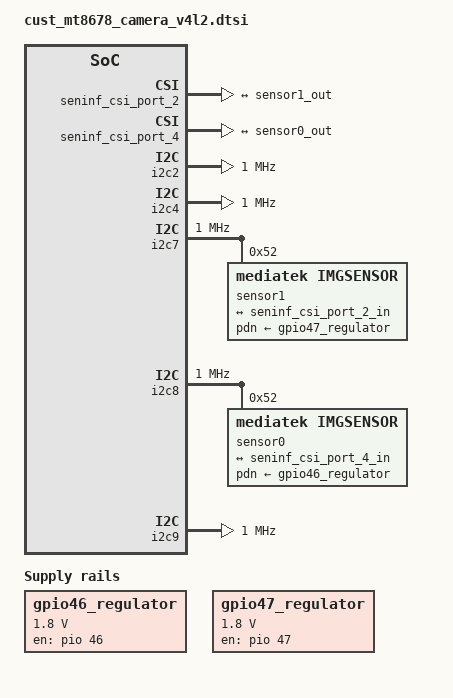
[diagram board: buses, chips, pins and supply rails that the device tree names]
// SPDX-License-Identifier: GPL-2.0
/* Copyright (c) 2023 MediaTek Inc. */
#include <dt-bindings/clock/mt6991-clk.h>

&seninf_top {
		seninf_csi_port_2: seninf-csi-port-2 {
			compatible = "mediatek,seninf";
			csi-port = "2";

			// nvmem-cells = <&csi_efuse2>;
			nvmem-cell-names = "rg_csi";

			port {
				seninf_csi_port_2_in: endpoint {
					remote-endpoint = <&sensor1_out>;
				};
			};
		};
		seninf_csi_port_4: seninf-csi-port-4 {
			compatible = "mediatek,seninf";
			csi-port = "4";

			// nvmem-cells = <&csi_efuse4>;
			nvmem-cell-names = "rg_csi";

			port {
				seninf_csi_port_4_in: endpoint {
					remote-endpoint = <&sensor0_out>;
				};
			};
		};
};

/* CAMERA GPIO fixed to regulator */
&odm {
	gpio46_regulator: gpio-46 {
		compatible = "regulator-fixed";
		regulator-name = "gpio46_regulator";
		regulator-min-microvolt = <1800000>;
		regulator-max-microvolt = <1800000>;
		gpio = <&pio 46 0x0>;
		enable-active-high;
		status = "okay";
	};
	gpio47_regulator: gpio-47 {
		compatible = "regulator-fixed";
		regulator-name = "gpio47_regulator";
		regulator-min-microvolt = <1800000>;
		regulator-max-microvolt = <1800000>;
		gpio = <&pio 47 0x0>;
		enable-active-high;
		status = "okay";
	};
};

/* CAMERA GPIO standardization */
&pio {
	camera_pins_default: camdefault {
	};
};
/* CAMERA GPIO end */


&i2c2 {
	status = "okay";
	clock-frequency = <1000000>;
};

&i2c4 {
	status = "okay";
	clock-frequency = <1000000>;
};

&i2c7 {
	status = "okay";
	clock-frequency = <1000000>;

	sensor1: sensor1@52 {
		compatible = "mediatek,imgsensor";
		sensor-names = "max96712_mipi_yuv";
		reg = <0x52>;

		#thermal-sensor-cells = <0>;
		pdn-supply = <&gpio47_regulator>;

		clocks = <&vlp_cksys_clk CLK_CK_UNIVPLL_192M_D32>,
			<&vlp_cksys_clk CLK_CK_UNIVPLL_192M_D16>,
			<&vlp_cksys_clk CLK_CK_F26M_CK_D2>,
			<&vlp_cksys_clk CLK_CK_UNIVPLL_192M_D10>,
			<&vlp_cksys_clk CLK_CK_UNIVPLL_192M_D8>,
			<&vlp_cksys_clk CLK_CK_UNIVPLL_D6_D16>,
			<&vlp_cksys_clk CLK_CK_UNIVPLL_D6_D8>,
			<&vlp_cksys_clk CLK_VLP_CK_CAMTG0_SEL>;
		clock-names = "6", "12", "13", "19.2", "24", "26", "52", "mclk";

		status = "okay";

		port {
			sensor1_out: endpoint {
				remote-endpoint = <&seninf_csi_port_2_in>;
			};
		};
	};
};

&i2c8 {
	status = "okay";
	clock-frequency = <1000000>;

	sensor0: sensor0@52 {
		compatible = "mediatek,imgsensor";
		sensor-names = "max96712isx_mipi_yuv";
		reg = <0x52>;

		#thermal-sensor-cells = <0>;
		pdn-supply = <&gpio46_regulator>;

		clocks = <&vlp_cksys_clk CLK_CK_UNIVPLL_192M_D32>,
			<&vlp_cksys_clk CLK_CK_UNIVPLL_192M_D16>,
			<&vlp_cksys_clk CLK_CK_F26M_CK_D2>,
			<&vlp_cksys_clk CLK_CK_UNIVPLL_192M_D10>,
			<&vlp_cksys_clk CLK_CK_UNIVPLL_192M_D8>,
			<&vlp_cksys_clk CLK_CK_UNIVPLL_D6_D16>,
			<&vlp_cksys_clk CLK_CK_UNIVPLL_D6_D8>,
			<&vlp_cksys_clk CLK_VLP_CK_CAMTG0_SEL>;
		clock-names = "6", "12", "13", "19.2", "24", "26", "52", "mclk";

		status = "okay";

		port {
			sensor0_out: endpoint {
				remote-endpoint = <&seninf_csi_port_4_in>;
			};
		};
	};
};

&i2c9 {
	status = "okay";
	clock-frequency = <1000000>;
};
